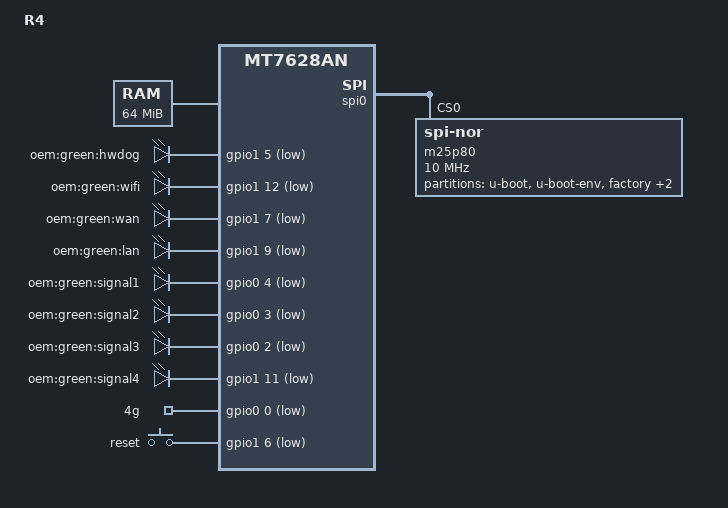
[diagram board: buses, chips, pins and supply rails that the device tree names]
/dts-v1/;

#include "mt7628an.dtsi"

#include <dt-bindings/input/input.h>
#include <dt-bindings/gpio/gpio.h>

/ {
	compatible = "OEM,MT7628", "mediatek,mt7628an-soc";
	model = "R4";

	chosen {
		bootargs = "console=ttyS0,115200";
	};

	memory@0 {
		device_type = "memory";
		reg = <0x0 0x4000000>;
	};

	gpio-leds {
		compatible = "gpio-leds";
		hwdog {
			label = "oem:green:hwdog";
			gpios = <&gpio1 5 GPIO_ACTIVE_LOW>;
		};

		wifi {
			label = "oem:green:wifi";
			gpios = <&gpio1 12 GPIO_ACTIVE_LOW>;
		};

		wan {
			label = "oem:green:wan";
			gpios = <&gpio1 7 GPIO_ACTIVE_LOW>;
		};

		lan {
			label = "oem:green:lan";
			gpios = <&gpio1 9 GPIO_ACTIVE_LOW>;
		};

		signal1 {
			label = "oem:green:signal1";
			gpios = <&gpio0 4 GPIO_ACTIVE_LOW>;
		};

		signal2 {
			label = "oem:green:signal2";
			gpios = <&gpio0 3 GPIO_ACTIVE_LOW>;
		};

		signal3 {
			label = "oem:green:signal3";
			gpios = <&gpio0 2 GPIO_ACTIVE_LOW>;
		};

		signal4 {
			label = "oem:green:signal4";
			gpios = <&gpio1 11 GPIO_ACTIVE_LOW>;
		};
	};

	gpio_export {
		compatible = "gpio-export";
		#size-cells = <0>;

		usb4g {
			gpio-export,name = "4g";
			gpio-export,output = <1>;
			gpios = <&gpio0 0 GPIO_ACTIVE_LOW>;
		};
	};

	gpio-keys-polled {
		compatible = "gpio-keys-polled";
		#address-cells = <1>;
		#size-cells = <0>;
		poll-interval = <20>;
		reset {
			label = "reset";
			gpios = <&gpio1 6 GPIO_ACTIVE_LOW>;
			linux,code = <KEY_RESTART>;
		};
	};
};

&ethernet {
	mtd-mac-address = <&bdinfo 0xDE00>;
	mediatek,port-map = "wllll";
};

&pinctrl {
	state_default: pinctrl0 {
		gpio {
			ralink,group = "refclk", "wled_an", "gpio";
			ralink,function = "gpio";
		};
	};
};

&spi0 {
	status = "okay";

	m25p80@0 {
		#address-cells = <1>;
		#size-cells = <1>;
		compatible = "jedec,spi-nor";
		reg = <0>;
		spi-max-frequency = <10000000>;
		m25p,chunked-io = <32>;

		partition@0 {
			label = "u-boot";
			reg = <0x0 0x30000>;
		};

		partition@30000 {
			label = "u-boot-env";
			reg = <0x30000 0x10000>;
		};

		factory: partition@40000 {
			label = "factory";
			reg = <0x40000 0x10000>;
		};

		bdinfo: partition@7f0000 {
			label = "bdinfo";
			reg = <0x7f0000 0x10000>;
		};

		partition@50000 {
			label = "firmware";
			reg = <0x50000 0x7a0000>;
		};
	};
};
